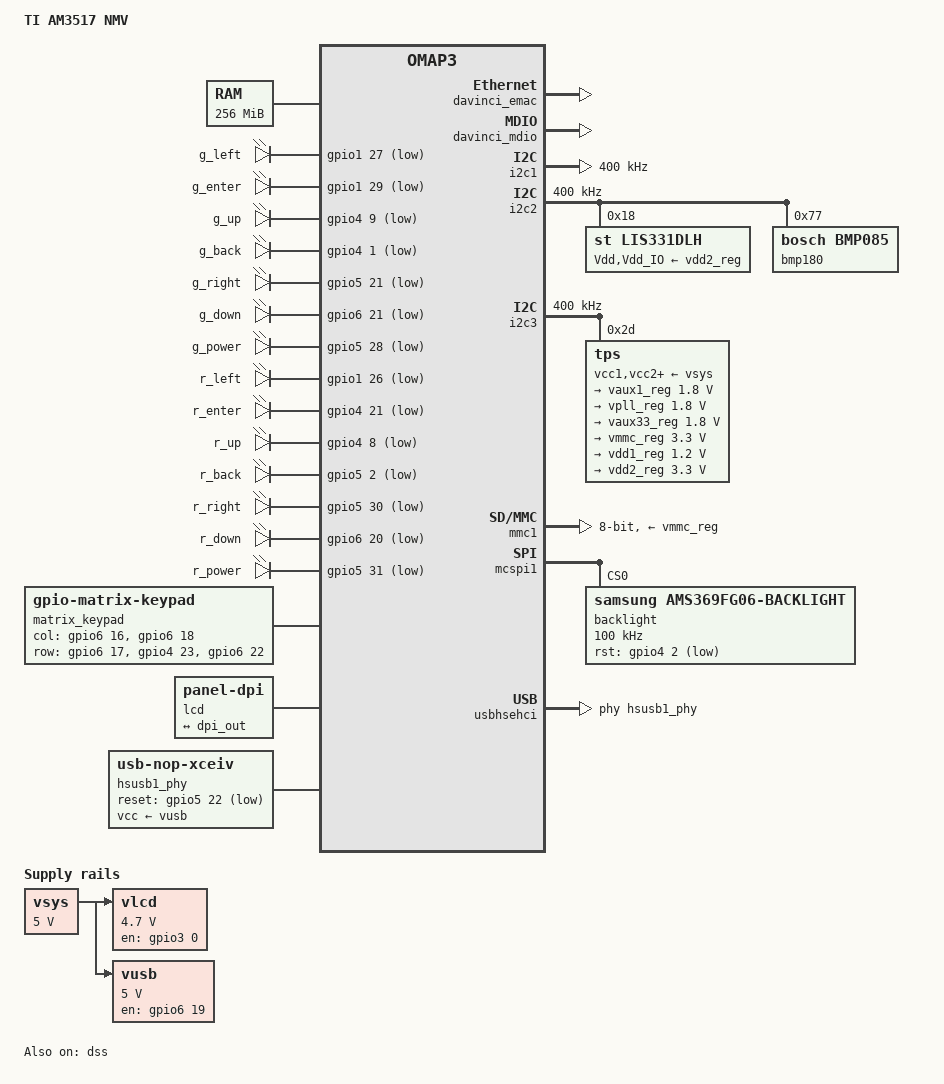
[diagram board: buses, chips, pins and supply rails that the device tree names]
/*
 * Copyright (C) 2011 Texas Instruments Incorporated - http://www.ti.com/
 *
 * This program is free software; you can redistribute it and/or modify
 * it under the terms of the GNU General Public License version 2 as
 * published by the Free Software Foundation.
 */
/dts-v1/;

#include "am3517.dtsi"
#include "omap34xx.dtsi"

/ {
	model = "TI AM3517 NMV";
	compatible = "ti,am3517-evm", "ti,am3517", "ti,omap3";

	chosen {
		bootargs = "console=ttyO2,115200 root=/dev/nfs nfsroot=192.168.0.78:/srv/nmv/ ip=192.168.0.101:192.168.0.78:192.168.0.1:255.255.255.0:arm:eth0:off";
		/*bootargs = "console=ttyO2,115200 root=/dev/ram0 rw ip=192.168.0.101:192.168.0.78:192.168.0.1:255.255.255.0:arm:eth0:off";*/
		/*bootargs = "console=ttyO2,115200 noinitrd root=/dev/mmcblk0p1 rootfstype=ext3 rw rootdelay=1";*/
	};

	memory {
		device_type = "memory";
		reg = <0x80000000 0x10000000>; /* 256 MB */
	};

	leds {
		compatible = "gpio-leds";

		led1 {
			label = "g_left";
			gpios = <&gpio1 27 GPIO_ACTIVE_LOW>; /* kb_gled4 - gpio_27 */
			default-state = "off";
		};

		led2 {
			label = "g_enter";
			gpios = <&gpio1 29 GPIO_ACTIVE_LOW>; /* kb_gled6 - gpio_29 */
			default-state = "off";
		};

		led3 {
			label = "g_up";
			gpios = <&gpio4 9 GPIO_ACTIVE_LOW>; /* kb_gled5 - gpio_105 */
			default-state = "off";
		};

		led4 {
			label = "g_back";
			gpios = <&gpio4 1 GPIO_ACTIVE_LOW>; /* kb_gled1 - gpio_97 */
			default-state = "off";
		};

		led5 {
			label = "g_right";
			gpios = <&gpio5 21 GPIO_ACTIVE_LOW>; /* kb_gled3 - gpio_149 */
			default-state = "off";
		};

		led6 {
			label = "g_down";
			gpios = <&gpio6 21 GPIO_ACTIVE_LOW>; /* kb_gled7 - gpio_181 */
			default-state = "off";
		};

		led7 {
			label = "g_power";
			gpios = <&gpio5 28 GPIO_ACTIVE_LOW>; /* kb_gled2 - gpio_156 */
			default-state = "off";
		};

		led8 {
			label = "r_left";
			gpios = <&gpio1 26 GPIO_ACTIVE_LOW>; /* kb_rled2 - gpio_26 */
			default-state = "off";
		};

		led9 {
			label = "r_enter";
			gpios = <&gpio4 21 GPIO_ACTIVE_LOW>; /* kb_rled3 - gpio_117 */
			default-state = "off";
		};

		led10 {
			label = "r_up";
			gpios = <&gpio4 8 GPIO_ACTIVE_LOW>; /* kb_rled5 - gpio_104 */
			default-state = "off";
		};

		led11 {
			label = "r_back";
			gpios = <&gpio5 2 GPIO_ACTIVE_LOW>; /* kb_rled7 - gpio_130 */
			default-state = "off";
		};

		led12 {
			label = "r_right";
			gpios = <&gpio5 30 GPIO_ACTIVE_LOW>; /* kb_rled6 - gpio_158 */
			default-state = "off";
		};

		led13 {
			label = "r_down";
			gpios = <&gpio6 20 GPIO_ACTIVE_LOW>; /* kb_rled4 - gpio_180 */
			default-state = "off";
		};

		led14 {
			label = "r_power";
			gpios = <&gpio5 31 GPIO_ACTIVE_LOW>; /* kb_rled1 - gpio_159 */
			default-state = "off";
		};
	};

	matrix_keypad: matrix-keypad@0 {
		compatible = "gpio-matrix-keypad";
		debounce-delay-ms = <50>;
		col-scan-delay-us = <200>;

		col-gpios = <
			&gpio6 16 0	/* gpio176 */
			&gpio6 18 0>;	/* gpio178 */

		row-gpios = <
			&gpio6 17 0	/* gpio177 */
			&gpio4 23 0	/* gpio119 */
			&gpio6 22 0>;	/* gpio182 */

		linux,keymap = <
			0x0000004b /* row 0, col 0, KEY_LEFT */
			0x00010048 /* row 0, col 1, KEY_UP */
			0x0100004d /* row 1, col 0, KEY_RIGHT */
			0x01010050 /* row 1, col 1, KEY_DOWN */
			0x0200000e /* row 2, col 0, KEY_BACK */
			0x0201001c /* row 2, col 1, KEY_OK */
		>;
		gpio-activelow;
	};

	lcd: display@0 {
		compatible = "panel-dpi";
		label = "lcd";

		pinctrl-names = "default";
		pinctrl-0 = <&lcd_pins>;

		port {
			lcd_in: endpoint {
				remote-endpoint = <&dpi_out>;
			};
		};

		panel-timing {
			clock-frequency = <30355200>;  /* 75Hz */
			hactive = <480>;
			vactive = <800>;
			hfront-porch = <8>;
			hback-porch = <8>;
			hsync-len = <1>;
			vback-porch = <8>;
			vfront-porch = <8>;
			vsync-len = <1>;

			hsync-active = <0>;
			vsync-active = <0>;
			de-active = <0>;
			pixelclk-active = <1>;
		};
	};

	hsusb1_phy: hsusb1_phy {
		compatible = "usb-nop-xceiv";
		reset-gpios = <&gpio5 22 GPIO_ACTIVE_LOW>;     /* gpio_150 */
		vcc-supply = <&vusb>;
	};

	vsys: fixedregulator@0 {
		compatible = "regulator-fixed";
		regulator-name = "vsys";
		regulator-min-microvolt = <5000000>;
		regulator-max-microvolt = <5000000>;
		regulator-boot-on;
	};

	vlcd: fixedregulator@1 {
		compatible = "regulator-fixed";
		vin-supply = <&vsys>;
		regulator-name = "vlcd";
		regulator-min-microvolt = <4700000>;
		regulator-max-microvolt = <4700000>;
		regulator-boot-on;
		gpio = <&gpio3 0 GPIO_ACTIVE_HIGH>;  /* gpio_64 */
		enable-active-high;
	};

	vusb: fixedregulator@2 {
		compatible = "regulator-fixed";
		vin-supply = <&vsys>;
		regulator-name = "vusb";
		regulator-min-microvolt = <5000000>;
		regulator-max-microvolt = <5000000>;
		gpio = <&gpio6 19 GPIO_ACTIVE_HIGH>;
		enable-active-high;
	};
};

&uart1 {
	pinctrl-names = "default";
	pinctrl-0 = <&uart1_pins>;
};

&uart2 {
	pinctrl-names = "default";
	pinctrl-0 = <&uart2_pins>;
};

&davinci_emac {
	     status = "okay";
};

&davinci_mdio {
	     status = "okay";
};

&i2c1 {
	pinctrl-names = "default";
	pinctrl-0 = <&i2c1_pins>;

	clock-frequency = <400000>;
};

&i2c2 {
	pinctrl-names = "default";
	pinctrl-0 = <&i2c2_pins>;

	clock-frequency = <400000>;

	lis331dlh: lis331dlh@18 {
		compatible = "st,lis331dlh", "st,lis3lv02d";
		reg = <0x18>;
		Vdd-supply = <&vdd2_reg>;
		Vdd_IO-supply = <&vdd2_reg>;
	};

	bmp180: bmp180@77 {
		compatible = "bosch,bmp085";
		reg = <0x77>;
		chip-id = <55>;
		temp-measurement-period = <300>;
		default-oversampling = <2>;
	};
};

&i2c3 {
	pinctrl-names = "default";
	pinctrl-0 = <&i2c3_pins>;

	clock-frequency = <400000>;

	tps: tps@2d {
		reg = <0x2d>;
	};
};

&mmc1 {
	vmmc-supply = <&vmmc_reg>;
	bus-width = <8>;
	pinctrl-0 = <&mmc1_pins>;
	status = "okay";
};

&mmc2 {
      status = "disabled";
};

&mmc3 {
      status = "disabled";
};

&mcspi1 {
	pinctrl-names = "default";
	pinctrl-0 = <&spi1_pins>;
	status = "okay";

	backlight: backlight@0 {
		compatible = "samsung,ams369fg06-backlight";
		spi-max-frequency = <100000>;
		reg = <0>;
		gpio-rst = <&gpio4 2 GPIO_ACTIVE_LOW>; 	/* gpio_98 */
	};
};

&usbhsehci {
	phys = <&hsusb1_phy>;
};

&dss {
	status = "okay";

	pinctrl-names = "default";
	pinctrl-0 = <&dss_dpi_pins>;

	port {
		dpi_out: endpoint {
			remote-endpoint = <&lcd_in>;
			data-lines = <24>;
		};
	};
}; 

#include "tps65910.dtsi"

&omap3_pmx_core {
	pinctrl-names = "default";
	pinctrl-0 = <
		&ctrl_pins &led_1_pins &matrix_pins
	>;

	ctrl_pins: pinmux_ctrl_pins {
		pinctrl-single,pins = <
			/* vlcd_en */
			0x0a0 (PIN_OUTPUT_PULLUP | MUX_MODE4)	/* gpmc_wait2.gpio_64 */
			/* lcd_rst */
			0x1bc (PIN_OUTPUT_PULLUP | MUX_MODE4)		/* ccdc_wen.gpio_98 */
			/* vusb_en */
			0x1a8 (PIN_OUTPUT | MUX_MODE4)		/* mcspi2_simo.gpio_179 */
			/* usb_rst2 */
			0x150 (PIN_OUTPUT_PULLUP | MUX_MODE4)	/* uart1_cts.gpio_150 */
		>;
	};

	uart1_pins: pinmux_uart1_pins {
		pinctrl-single,pins = <
			0x152 (PIN_INPUT | MUX_MODE0)	/* uart1_rx.uart1_rx */
			0x14c (PIN_OUTPUT |MUX_MODE0)	/* uart1_tx.uart1_tx */
		>;
	};

	uart2_pins: pinmux_uart2_pins {
		pinctrl-single,pins = <
			0x14a (PIN_INPUT | MUX_MODE0)	/* uart2_rx.uart2_rx */
			0x148 (PIN_OUTPUT | MUX_MODE0)	/* uart2_tx.uart2_tx */
			0x144 (PIN_INPUT | MUX_MODE0)	/* uart2_cts.uart2_cts */
			0x146 (PIN_OUTPUT | MUX_MODE0)	/* uart2_rts.uart2_rts */
		>;
	};

	i2c1_pins: pinmux_i2c1_pins {
		pinctrl-single,pins = <
			0x18c (PIN_INPUT_PULLUP | MUX_MODE0)	/* i2c1_sda.i2c1_sda */
			0x188 (PIN_INPUT_PULLUP | MUX_MODE0)	/* i2c1_scl.i2c1_scl */
		>;
	};

	i2c2_pins: pinmux_i2c2_pins {
		pinctrl-single,pins = <
			0x190 (PIN_INPUT_PULLUP | MUX_MODE0)	/* i2c2_sda.i2c1_sda */
			0x192 (PIN_INPUT_PULLUP | MUX_MODE0)	/* i2c2_scl.i2c1_scl */
		>;
	};

	i2c3_pins: pinmux_i2c3_pins {
		pinctrl-single,pins = <
			0x194 (PIN_INPUT_PULLUP | MUX_MODE0)	/* i2c3_sda.i2c3_sda */
			0x196 (PIN_INPUT_PULLUP | MUX_MODE0)	/* i2c3_scl.i2c3_scl */
		>;
	};

	mmc1_pins: pinmux_mmc1_pins {
		pinctrl-single,pins = <
			0x114 (PIN_OUTPUT_PULLUP | MUX_MODE0)  /* sdmmc1_clk.sdmmc1_clk */
			0x116 (PIN_INPUT | MUX_MODE0)  /* sdmmc1_cmd.sdmmc1_cmd */
			0x118 (PIN_INPUT | MUX_MODE0)  /* sdmmc1_dat0.sdmmc1_dat0 */
			0x11a (PIN_INPUT | MUX_MODE0)  /* sdmmc1_dat1.sdmmc1_dat1 */
			0x11c (PIN_INPUT | MUX_MODE0)  /* sdmmc1_dat2.sdmmc1_dat2 */
			0x11e (PIN_INPUT | MUX_MODE0)  /* sdmmc1_dat3.sdmmc1_dat3 */
			0x120 (PIN_INPUT | MUX_MODE0)  /* sdmmc1_dat4.sdmmc1_dat4 */
			0x122 (PIN_INPUT | MUX_MODE0)  /* sdmmc1_dat5.sdmmc1_dat5 */
			0x124 (PIN_INPUT | MUX_MODE0)  /* sdmmc1_dat6.sdmmc1_dat6 */
			0x126 (PIN_INPUT | MUX_MODE0)  /* sdmmc1_dat7.sdmmc1_dat7 */
		 >;
	};

	dss_dpi_pins: pinmux_dss_dpi_pins {
		pinctrl-single,pins = <
			OMAP3_CORE1_IOPAD(0x20d4, PIN_OUTPUT | MUX_MODE0)       /* dss_pclk.dss_pclk */
			OMAP3_CORE1_IOPAD(0x20d6, PIN_OUTPUT | MUX_MODE0)       /* dss_hsync.dss_hsync */
			OMAP3_CORE1_IOPAD(0x20d8, PIN_OUTPUT | MUX_MODE0)       /* dss_vsync.dss_vsync */
			OMAP3_CORE1_IOPAD(0x20da, PIN_OUTPUT | MUX_MODE0)       /* dss_acbias.dss_acbias */
			OMAP3_CORE1_IOPAD(0x20dc, PIN_OUTPUT | MUX_MODE0)       /* dss_data0.dss_data0 */
			OMAP3_CORE1_IOPAD(0x20de, PIN_OUTPUT | MUX_MODE0)       /* dss_data1.dss_data1 */
			OMAP3_CORE1_IOPAD(0x20e0, PIN_OUTPUT | MUX_MODE0)       /* dss_data2.dss_data2 */
			OMAP3_CORE1_IOPAD(0x20e2, PIN_OUTPUT | MUX_MODE0)       /* dss_data3.dss_data3 */
			OMAP3_CORE1_IOPAD(0x20e4, PIN_OUTPUT | MUX_MODE0)       /* dss_data4.dss_data4 */
			OMAP3_CORE1_IOPAD(0x20e6, PIN_OUTPUT | MUX_MODE0)       /* dss_data5.dss_data5 */
			OMAP3_CORE1_IOPAD(0x20e8, PIN_OUTPUT | MUX_MODE0)       /* dss_data6.dss_data6 */
			OMAP3_CORE1_IOPAD(0x20ea, PIN_OUTPUT | MUX_MODE0)       /* dss_data7.dss_data7 */
			OMAP3_CORE1_IOPAD(0x20ec, PIN_OUTPUT | MUX_MODE0)       /* dss_data8.dss_data8 */
			OMAP3_CORE1_IOPAD(0x20ee, PIN_OUTPUT | MUX_MODE0)       /* dss_data9.dss_data9 */
			OMAP3_CORE1_IOPAD(0x20f0, PIN_OUTPUT | MUX_MODE0)       /* dss_data10.dss_data10 */
			OMAP3_CORE1_IOPAD(0x20f2, PIN_OUTPUT | MUX_MODE0)       /* dss_data11.dss_data11 */
			OMAP3_CORE1_IOPAD(0x20f4, PIN_OUTPUT | MUX_MODE0)       /* dss_data12.dss_data12 */
			OMAP3_CORE1_IOPAD(0x20f6, PIN_OUTPUT | MUX_MODE0)       /* dss_data13.dss_data13 */
			OMAP3_CORE1_IOPAD(0x20f8, PIN_OUTPUT | MUX_MODE0)       /* dss_data14.dss_data14 */
			OMAP3_CORE1_IOPAD(0x20fa, PIN_OUTPUT | MUX_MODE0)       /* dss_data15.dss_data15 */
			OMAP3_CORE1_IOPAD(0x20fc, PIN_OUTPUT | MUX_MODE0)       /* dss_data16.dss_data16 */
			OMAP3_CORE1_IOPAD(0x20fe, PIN_OUTPUT | MUX_MODE0)       /* dss_data17.dss_data17 */
			OMAP3_CORE1_IOPAD(0x2100, PIN_OUTPUT | MUX_MODE0)       /* dss_data18.dss_data18 */
			OMAP3_CORE1_IOPAD(0x2102, PIN_OUTPUT | MUX_MODE0)       /* dss_data19.dss_data19 */
			OMAP3_CORE1_IOPAD(0x2104, PIN_OUTPUT | MUX_MODE0)       /* dss_data20.dss_data20 */
			OMAP3_CORE1_IOPAD(0x2106, PIN_OUTPUT | MUX_MODE0)       /* dss_data21.dss_data21 */
			OMAP3_CORE1_IOPAD(0x2108, PIN_OUTPUT | MUX_MODE0)       /* dss_data22.dss_data22 */
			OMAP3_CORE1_IOPAD(0x210a, PIN_OUTPUT | MUX_MODE0)       /* dss_data23.dss_data23 */
		>;
	};

	lcd_pins: pinmux_lcd_pins {
		pinctrl-single,pins = <
			0x0a2(PIN_OUTPUT | MUX_MODE4)       /* gpmc_wait3.gpio_65 */
		>;
	};

	spi1_pins: pinmux_spi1_pins {
		pinctrl-single,pins = <
			OMAP3_CORE1_IOPAD(0x21c8, PIN_OUTPUT_PULLUP | MUX_MODE0)   /* mcspi1_clk.mcspi1_clk */
			OMAP3_CORE1_IOPAD(0x21ca, PIN_OUTPUT | MUX_MODE0)   /* mcspi1_simo.mcspi1_simo */
			OMAP3_CORE1_IOPAD(0x21cc, PIN_INPUT | MUX_MODE0)   /* mcspi1_somi.mcspi1_somi */
			OMAP3_CORE1_IOPAD(0x21ce, PIN_OUTPUT_PULLUP | MUX_MODE0)   /* mcspi1_cs0.mcspi1_cs0 */
		>;
	};

	led_1_pins: pinmux_led_1_pins {
		pinctrl-single,pins = <
			0x1ba (PIN_OUTPUT | MUX_MODE4) /* ccdc_vd.gpio_97	*/
			0x15c (PIN_OUTPUT | MUX_MODE4) /* mcbspi1_clkr.gpio_156	*/
			0x14e (PIN_OUTPUT | MUX_MODE4) /* uart1_rts.gpio_149	*/
			0x1ca (PIN_OUTPUT | MUX_MODE4) /* ccdc_data6.gpio_105	*/
			0x1ac (PIN_OUTPUT | MUX_MODE4) /* mcspi2_cs0.gpio_181	*/

			0x162 (PIN_OUTPUT | MUX_MODE4) /* mcbsp1_dr.gpio_159	*/
			0x10e (PIN_OUTPUT | MUX_MODE4) /* mcbsp2_clkx.gpio_117	*/
			0x1aa (PIN_OUTPUT | MUX_MODE4) /* mcspi2_somi.gpio_180	*/
			0x1c8 (PIN_OUTPUT | MUX_MODE4) /* ccdc_data5.gpio_104	*/
			0x160 (PIN_OUTPUT | MUX_MODE4) /* mcbsp1_dx.gpio_158	*/
			0x1e4 (PIN_OUTPUT | MUX_MODE4) /* hecc1_txd.gpio_130	*/
		>;
	};

	matrix_pins: pinmux_matrix_pins {
		pinctrl-single,pins = <
			0x1a2 (PIN_OUTPUT_PULLUP | MUX_MODE4)	/* col1 - gpio_176 */
			0x1a6 (PIN_OUTPUT_PULLUP | MUX_MODE4)	/* col2 - gpio_178 */
			0x1a4 (PIN_INPUT | MUX_MODE4)		/* row1 - gpio_177 */
			0x112 (PIN_INPUT | MUX_MODE4)		/* row2 - gpio_119 */
			0x1ae (PIN_INPUT | MUX_MODE4)		/* row3 - gpio_182 */
		>;
	};

	tps_pins: pinmux_tps_pins {
		pinctrl-single,pins = <
			0x1b0 (PIN_INPUT_PULLUP | MUX_MODE0) /* sys_nirq.sys_nirq */
		>;
	};
};

&omap3_pmx_core2 {
	pinctrl-names = "default";
	pinctrl-0 = <
		&led_2_pins &hsusb1_2_pins
	>;

	led_2_pins: pinmux_led_2_pins {
		pinctrl-single,pins = <
			OMAP3430_CORE2_IOPAD(0x25f6, PIN_OUTPUT | MUX_MODE4) /* etk_d13.gpio_27 */
			OMAP3430_CORE2_IOPAD(0x25fa, PIN_OUTPUT | MUX_MODE4) /* etk_d15.gpio_29 */
			OMAP3430_CORE2_IOPAD(0x25f4, PIN_OUTPUT | MUX_MODE4) /* etk_d12.gpio_26 */
		>;
	};

	hsusb1_2_pins: pinmux_hsusb1_2_pins {
		pinctrl-single,pins = <
			OMAP3430_CORE2_IOPAD(0x25d8, PIN_OUTPUT | MUX_MODE3)  /* etk_clk.hsusb1_stp */
			OMAP3430_CORE2_IOPAD(0x25da, PIN_INPUT | MUX_MODE3)   /* etk_ctl.hsusb1_clk */
			OMAP3430_CORE2_IOPAD(0x25dc, PIN_INPUT | MUX_MODE3)   /* etk_d0.hsusb1_data0 */
			OMAP3430_CORE2_IOPAD(0x25de, PIN_INPUT | MUX_MODE3)   /* etk_d1.hsusb1_data1 */
			OMAP3430_CORE2_IOPAD(0x25e0, PIN_INPUT | MUX_MODE3)   /* etk_d2.hsusb1_data2 */
			OMAP3430_CORE2_IOPAD(0x25e2, PIN_INPUT | MUX_MODE3)   /* etk_d3.hsusb1_data7 */
			OMAP3430_CORE2_IOPAD(0x25e4, PIN_INPUT | MUX_MODE3)   /* etk_d4.hsusb1_data4 */
			OMAP3430_CORE2_IOPAD(0x25e6, PIN_INPUT | MUX_MODE3)   /* etk_d5.hsusb1_data5 */
			OMAP3430_CORE2_IOPAD(0x25e8, PIN_INPUT | MUX_MODE3)   /* etk_d6.hsusb1_data6 */
			OMAP3430_CORE2_IOPAD(0x25ea, PIN_INPUT | MUX_MODE3)   /* etk_d7.hsusb1_data3 */
			OMAP3430_CORE2_IOPAD(0x25ec, PIN_INPUT | MUX_MODE3)   /* etk_d8.hsusb1_dir */
			OMAP3430_CORE2_IOPAD(0x25ee, PIN_INPUT | MUX_MODE3)   /* etk_d9.hsusb1_nxt */
		>;
	};
};

&tps {
	pinctrl-names = "default";
	pinctrl-0 = <&tps_pins>;

	interrupts = <7>; /* SYS_NIRQ cascaded to intc */
	interrupt-parent = <&intc>;

	ti,en-ck32k-xtal;

	vcc1-supply = <&vsys>;
	vcc2-supply = <&vsys>;
	vcc3-supply = <&vsys>;
	vcc4-supply = <&vsys>;
	vcc5-supply = <&vsys>;
	vcc6-supply = <&vsys>;
	vcc7-supply = <&vsys>;
	vccio-supply = <&vsys>;

	regulators {
		vrtc_reg: regulator@0 {
			regulator-always-on;
		};

		vio_reg: regulator@1 {
			regulator-always-on;
		};

		/*
		 * Unused:
		 * VDIG1=2.7V,300mA max
		 * VDIG2=1.8V,300mA max
		 */

		vaux1_reg: regulator@9 {
			/* VDDS_SRAM_1V8 */
			regulator-min-microvolt = <1800000>;
			regulator-max-microvolt = <1800000>;
			regulator-always-on;
		};

		vpll_reg: regulator@7 {
			/* VDDS_DPLL_1V8 */
			regulator-min-microvolt = <1800000>;
			regulator-max-microvolt = <1800000>;
			regulator-always-on;
		};

		vaux1_reg: regulator@9 {
			/* VDDS_SRAM_1V8 */
			regulator-min-microvolt = <1800000>;
			regulator-max-microvolt = <1800000>;
			regulator-always-on;
		};

		/* VAUX2 unused */
		/* VDD3 unused */

		vaux33_reg: regulator@11 {
			/* VAUX33 */
			regulator-min-microvolt = <1800000>;
			regulator-max-microvolt = <1800000>;
		};

		vmmc_reg: regulator@12 {
			/* VDD_eMMC */
			regulator-min-microvolt = <3300000>;
			regulator-max-microvolt = <3300000>;
			regulator-always-on;
		};

		vdd1_reg: regulator@2 {
			/* VDD_CORE */
			regulator-name = "vdd_core";
			regulator-min-microvolt = <1200000>;
			regulator-max-microvolt = <1200000>;
			regulator-boot-on;
			regulator-always-on;
		};

		vdd2_reg: regulator@3 {
			/* VDDSHV */
			regulator-name = "vdd_shv";
			regulator-min-microvolt = <3300000>;
			regulator-max-microvolt = <3300000>;
			regulator-always-on;
		};
	};
};
